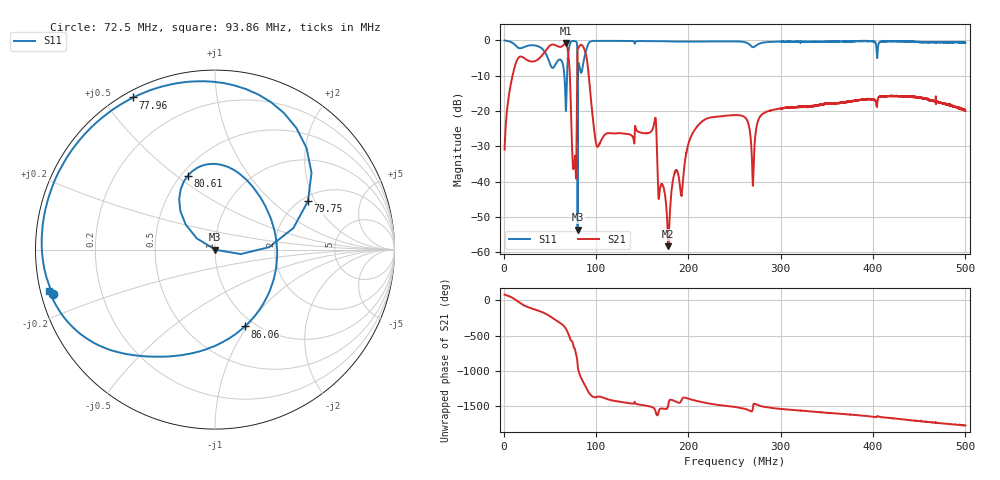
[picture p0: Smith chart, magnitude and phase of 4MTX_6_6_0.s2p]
! NanoVNA-App
! Date: 2026-08-18 22:02:26
! Start: 1MHz Stop: 500MHz Points: 6401
! S-Parameter data: F S11 S21 S12 S22
# Hz S RI R 50
!  Frequency  S11_Real  S11_Imag  S21_Real  S21_Imag  S12_Real  S12_Imag  S22_Real  S22_Imag
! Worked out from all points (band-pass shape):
!   6401 points, 1 MHz to 500 MHz, reference 50 ohm
!   highest |S21| = -0.87 dB at 67.12 MHz (marker M1); lowest = -58.2 dB at 178.3 MHz (marker M2)
!   |S21| within 3 dB of the highest: 42.93 MHz to 69.89 MHz (26.96 MHz wide, 47.8 % of centre); 79.88 MHz to 88.91 MHz (9.031 MHz wide, 10.7 % of centre)
!   lowest |S11| = -53.6 dB at 80.06 MHz (marker M3), VSWR 1.00, Z = 50.2 - j0.0899 ohm
!   |S11| at or under -10 dB: 65.73 MHz to 68.53 MHz (2.8 MHz wide, 4.17 % of centre); 79.9 MHz to 80.33 MHz (437.9 kHz wide, 0.547 % of centre)
!   S12 and S22 are empty: the file has one direction only
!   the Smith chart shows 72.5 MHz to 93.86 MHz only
!   S11 on the Smith chart (normalised r, x): 72.5 MHz: 0.03, -0.14; 77.96 MHz: 0.03, +0.60; 79.75 MHz: 2.16, +1.77; 80.61 MHz: 0.54, +0.55; 86.06 MHz: 0.90, -0.97; 93.86 MHz: 0.02, -0.12
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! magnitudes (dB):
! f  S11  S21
! 1 MHz  -0.1  -30.9
! 15.5 MHz  -2.1  -5.2
! 67.12 MHz  -18.7  -0.9
! 72.5 MHz  -0.6  -16.5
! 76.08 MHz  -0.2  -35.6
! 77.96 MHz  -0.3  -37.4
! 79.75 MHz  -4.7  -6.1
! 80.06 MHz  -53.6  -2.4
! 80.61 MHz  -7.1  -2.3
! 84.19 MHz  -9.2  -1.3
! 86.06 MHz  -6.8  -1.9
! 93.86 MHz  -0.4  -15.0
! 102 MHz  -0.2  -30.1
! 163 MHz  -0.3  -23.5
! 167.4 MHz  -0.3  -43.1
! 178.3 MHz  -0.3  -58.2
! 206.1 MHz  -0.4  -25.6
! 250.5 MHz  -0.4  -21.2
! 269.9 MHz  -2.0  -41.2
! 333.7 MHz  -0.5  -18.8
! 416.9 MHz  -0.3  -15.9
! 500 MHz  -0.7  -20.0
